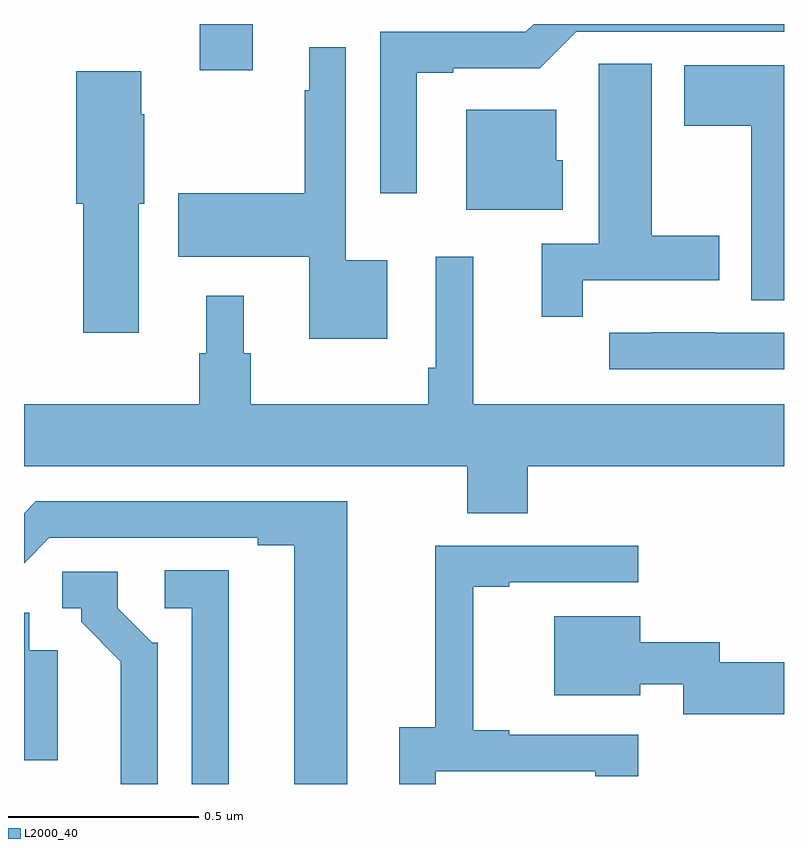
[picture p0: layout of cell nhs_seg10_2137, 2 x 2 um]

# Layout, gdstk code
import gdstk
lib = gdstk.Library(unit=1e-6, precision=1e-09)
def R(c, l, rs):  # rectangles x0, y0, x1, y1
    for r in rs: c.add(gdstk.rectangle(r[:2], r[2:], *l))
def P(c, l, *ps):  # polygons
    for p in ps: c.add(gdstk.Polygon(p, *l))
L2000_40 = (2000, 40)

nhs_seg10_2137 = lib.new_cell('nhs_seg10_2137')
R(nhs_seg10_2137, L2000_40, [(137.462,1281.378,137.602,1281.5)])
P(nhs_seg10_2137, L2000_40, [(138.034,1281.372),(138.13,1281.372),(138.13,1281.384),(138.357,1281.384),(138.453,1281.48),(139,1281.48),(139,1281.5),(138.341,1281.5),(138.321,1281.48),(137.937,1281.48),(137.937,1281.054),(138.034,1281.054)],
  [(137.956,1280.878),(137.847,1280.878),(137.847,1281.439),(137.75,1281.439),(137.75,1281.326),(137.739,1281.326),(137.739,1281.054),(137.406,1281.054),(137.406,1280.888),(137.75,1280.888),(137.75,1280.672),(137.956,1280.672)],
  [(138.47,1280.826),(138.829,1280.826),(138.829,1280.943),(138.652,1280.943),(138.652,1281.395),(138.513,1281.395),(138.513,1281.284),(138.512,1281.284),(138.512,1280.922),(138.362,1280.922),(138.362,1280.73),(138.47,1280.73)],
  [(139,1281.391),(138.737,1281.391),(138.737,1281.232),(138.914,1281.232),(138.914,1280.773),(139,1280.773)],
  [(137.302,1281.027),(137.316,1281.027),(137.316,1281.263),(137.308,1281.263),(137.308,1281.376),(137.138,1281.376),(137.138,1281.027),(137.156,1281.027),(137.156,1280.688),(137.302,1280.688)],
  [(138.418,1281.141),(138.4,1281.141),(138.4,1281.274),(138.164,1281.274),(138.164,1281.011),(138.418,1281.011)],
  [(138.326,1280.336),(139,1280.336),(139,1280.5),(138.182,1280.5),(138.182,1280.887),(138.084,1280.887),(138.084,1280.596),(138.064,1280.596),(138.064,1280.5),(137.597,1280.5),(137.597,1280.634),(137.578,1280.634),(137.578,1280.785),(137.48,1280.785),(137.48,1280.634),(137.461,1280.634),(137.461,1280.5),(137,1280.5),(137,1280.336),(138.166,1280.336),(138.166,1280.212),(138.326,1280.212)],
  [(139,1280.688),(138.818,1280.688),(138.818,1280.689),(138.652,1280.689),(138.652,1280.688),(138.54,1280.688),(138.54,1280.592),(139,1280.592)],
  [(137.85,1279.576),(137.851,1279.576),(137.851,1280.244),(137.031,1280.244),(137,1280.213),(137,1280.081),(137.067,1280.148),(137.615,1280.148),(137.615,1280.128),(137.711,1280.128),(137.711,1279.5),(137.85,1279.5)],
  [(138.084,1279.533),(138.503,1279.533),(138.503,1279.521),(138.616,1279.521),(138.616,1279.629),(138.277,1279.629),(138.277,1279.642),(138.182,1279.642),(138.182,1280.019),(138.277,1280.019),(138.277,1280.031),(138.616,1280.031),(138.616,1280.127),(138.082,1280.127),(138.082,1279.649),(137.987,1279.649),(137.987,1279.5),(138.084,1279.5)],
  [(137.539,1280.063),(137.37,1280.063),(137.37,1279.962),(137.442,1279.962),(137.442,1279.5),(137.539,1279.5)],
  [(137.352,1279.872),(137.337,1279.872),(137.247,1279.962),(137.247,1280.058),(137.1,1280.058),(137.1,1279.962),(137.15,1279.962),(137.15,1279.927),(137.255,1279.822),(137.255,1279.5),(137.352,1279.5)],
  [(137.089,1279.852),(137.014,1279.852),(137.014,1279.951),(137,1279.951),(137,1279.562),(137.089,1279.562)],
  [(139,1279.82),(138.831,1279.82),(138.831,1279.873),(138.622,1279.873),(138.622,1279.942),(138.395,1279.942),(138.395,1279.733),(138.622,1279.733),(138.622,1279.763),(138.735,1279.763),(138.735,1279.684),(139,1279.684)])

lib.write_gds('nhs_seg10_2137.gds')
